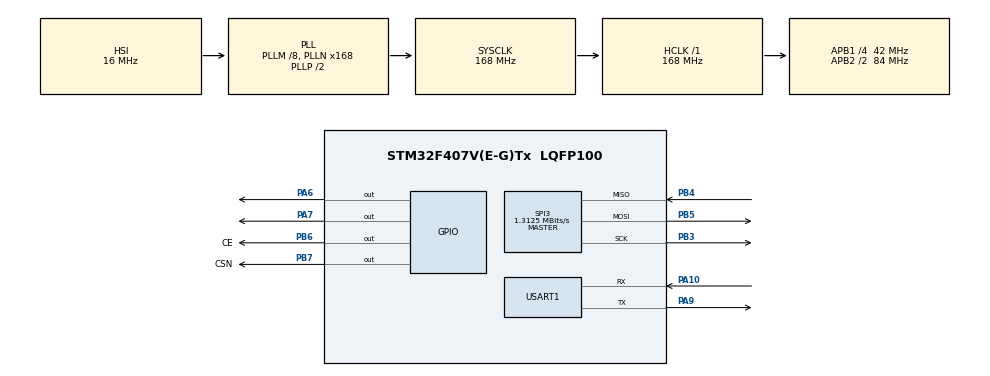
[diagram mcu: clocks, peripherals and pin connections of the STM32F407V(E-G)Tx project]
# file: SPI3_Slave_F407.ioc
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Mcu.Family=STM32F4
Mcu.Name=STM32F407V(E-G)Tx
Mcu.Package=LQFP100
NVIC.PriorityGroup=NVIC_PRIORITYGROUP_4
NVIC.USART1_IRQn=true\:1\:0\:true\:false\:true\:true\:true
PA10.Mode=Asynchronous
PA10.Signal=USART1_RX
PA13.Mode=Serial_Wire
PA13.Signal=SYS_JTMS-SWDIO
PA14.Mode=Serial_Wire
PA14.Signal=SYS_JTCK-SWCLK
PA6.GPIO_Speed=GPIO_SPEED_FREQ_VERY_HIGH
PA6.PinState=GPIO_PIN_SET
PA6.Signal=GPIO_Output
PA7.GPIO_Speed=GPIO_SPEED_FREQ_VERY_HIGH
PA7.PinState=GPIO_PIN_SET
PA7.Signal=GPIO_Output
PA9.Mode=Asynchronous
PA9.Signal=USART1_TX
PB3.Mode=Full_Duplex_Master
PB3.Signal=SPI3_SCK
PB4.Mode=Full_Duplex_Master
PB4.Signal=SPI3_MISO
PB5.Mode=Full_Duplex_Master
PB5.Signal=SPI3_MOSI
PB6.GPIO_Label=CE
PB6.GPIO_Speed=GPIO_SPEED_FREQ_VERY_HIGH
PB6.PinState=GPIO_PIN_SET
PB6.Signal=GPIO_Output
PB7.GPIO_Label=CSN
PB7.GPIO_Speed=GPIO_SPEED_FREQ_VERY_HIGH
PB7.PinState=GPIO_PIN_SET
PB7.Signal=GPIO_Output
PH0-OSC_IN.Mode=HSE-External-Oscillator
PH0-OSC_IN.Signal=RCC_OSC_IN
PH1-OSC_OUT.Mode=HSE-External-Oscillator
PH1-OSC_OUT.Signal=RCC_OSC_OUT
ProjectManager.HeapSize=0x200
ProjectManager.StackSize=0x400
ProjectManager.TargetToolchain=MDK-ARM V5.27
RCC.48MHZClocksFreq_Value=84000000
RCC.AHBFreq_Value=168000000
RCC.APB1CLKDivider=RCC_HCLK_DIV4
RCC.APB1Freq_Value=42000000
RCC.APB1TimFreq_Value=84000000
RCC.APB2CLKDivider=RCC_HCLK_DIV2
RCC.APB2Freq_Value=84000000
RCC.APB2TimFreq_Value=168000000
RCC.CortexFreq_Value=168000000
RCC.HCLKFreq_Value=168000000
RCC.HSE_VALUE=8000000
RCC.HSI_VALUE=16000000
RCC.LSE_VALUE=32768
RCC.PLLM=8
RCC.PLLN=168
RCC.SYSCLKFreq_VALUE=168000000
RCC.SYSCLKSource=RCC_SYSCLKSOURCE_PLLCLK
RCC.VCOOutputFreq_Value=336000000
SPI3.BaudRatePrescaler=SPI_BAUDRATEPRESCALER_32
SPI3.CalculateBaudRate=1.3125 MBits/s
SPI3.Direction=SPI_DIRECTION_2LINES
SPI3.Mode=SPI_MODE_MASTER
SPI3.VirtualType=VM_MASTER
USART1.VirtualMode=VM_ASYNC
board=custom

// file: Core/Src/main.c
/* USER CODE BEGIN Header */
/**
  ******************************************************************************
  * @file           : main.c
  * @brief          : Main program body
  ******************************************************************************
  * @attention
  *
  * <h2><center>&copy; Copyright (c) 2021 STMicroelectronics.
  * All rights reserved.</center></h2>
  *
  * This software component is licensed by ST under BSD 3-Clause license,
  * the "License"; You may not use this file except in compliance with the
  * License. You may obtain a copy of the License at:
  *                        opensource.org/licenses/BSD-3-Clause
  *
  ******************************************************************************
  */
/* USER CODE END Header */
#include "main.h"

/* USER CODE BEGIN Includes */
#include "nrf24.h"
/* USER CODE END Includes */

SPI_HandleTypeDef hspi3;

UART_HandleTypeDef huart1;

void SystemClock_Config(void);
static void MX_GPIO_Init(void);
static void MX_SPI3_Init(void);
static void MX_USART1_UART_Init(void);

/* USER CODE BEGIN 0 */
uint64_t RxpipeAddres = 0x11223344AA;
char MyRxData[40];
/* USER CODE END 0 */

int main(void)
{

  /* MCU Configuration--------------------------------------------------------*/

  /* Reset of all peripherals, Initializes the Flash interface and the Systick. */
  HAL_Init();

  /* Configure the system clock */
  SystemClock_Config();

  /* Initialize all configured peripherals */
  MX_GPIO_Init();
  MX_SPI3_Init();
  MX_USART1_UART_Init();
  /* USER CODE BEGIN 2 */
NRF24_begin(GPIOB, CSN_Pin, CE_Pin, hspi3);
nrf24_DebugUART_Init(huart1);
printRadioSettings();

NRF24_setAutoAck(false);
NRF24_setChannel(52);
NRF24_setPayloadSize(32); // VL
NRF24_setDataRate(RF24_2MBPS);
NRF24_openReadingPipe(1, RxpipeAddres);

NRF24_startListening();
//HAL_GPIO_WritePin(GPIOB, GPIO_PIN_8, GPIO_PIN_RESET);
  /* USER CODE END 2 */

  /* Infinite loop */
  /* USER CODE BEGIN WHILE */
  while (1)
  {
		if(NRF24_available()){
			NRF24_read(MyRxData, 4);
			HAL_UART_Transmit(&huart1, (uint8_t*) MyRxData, 4, 10);
			if(MyRxData[0] == '0')
			{
				HAL_GPIO_WritePin(GPIOA, GPIO_PIN_6, GPIO_PIN_SET);
			} else if(MyRxData[0] == '1') {
				HAL_GPIO_WritePin(GPIOA, GPIO_PIN_6, GPIO_PIN_RESET);
			}
			if(MyRxData[1] == '0')
			{
				HAL_GPIO_WritePin(GPIOA, GPIO_PIN_7, GPIO_PIN_SET);
			} else if(MyRxData[1] == '1') {
				HAL_GPIO_WritePin(GPIOA, GPIO_PIN_7, GPIO_PIN_RESET);
			}
		}
		HAL_Delay(50);
    /* USER CODE END WHILE */

  }
}

void SystemClock_Config(void)
{
  RCC_OscInitTypeDef RCC_OscInitStruct = {0};
  RCC_ClkInitTypeDef RCC_ClkInitStruct = {0};

  /** Configure the main internal regulator output voltage
  */
  __HAL_RCC_PWR_CLK_ENABLE();
  __HAL_PWR_VOLTAGESCALING_CONFIG(PWR_REGULATOR_VOLTAGE_SCALE1);
  /** Initializes the RCC Oscillators according to the specified parameters
  * in the RCC_OscInitTypeDef structure.
  */
  RCC_OscInitStruct.OscillatorType = RCC_OSCILLATORTYPE_HSI;
  RCC_OscInitStruct.HSIState = RCC_HSI_ON;
  RCC_OscInitStruct.HSICalibrationValue = RCC_HSICALIBRATION_DEFAULT;
  RCC_OscInitStruct.PLL.PLLState = RCC_PLL_ON;
  RCC_OscInitStruct.PLL.PLLSource = RCC_PLLSOURCE_HSI;
  RCC_OscInitStruct.PLL.PLLM = 8;
  RCC_OscInitStruct.PLL.PLLN = 168;
  RCC_OscInitStruct.PLL.PLLP = RCC_PLLP_DIV2;
  RCC_OscInitStruct.PLL.PLLQ = 4;
  if (HAL_RCC_OscConfig(&RCC_OscInitStruct) != HAL_OK)
  {
    Error_Handler();
  }
  /** Initializes the CPU, AHB and APB buses clocks
  */
  RCC_ClkInitStruct.ClockType = RCC_CLOCKTYPE_HCLK|RCC_CLOCKTYPE_SYSCLK
                              |RCC_CLOCKTYPE_PCLK1|RCC_CLOCKTYPE_PCLK2;
  RCC_ClkInitStruct.SYSCLKSource = RCC_SYSCLKSOURCE_PLLCLK;
  RCC_ClkInitStruct.AHBCLKDivider = RCC_SYSCLK_DIV1;
  RCC_ClkInitStruct.APB1CLKDivider = RCC_HCLK_DIV4;
  RCC_ClkInitStruct.APB2CLKDivider = RCC_HCLK_DIV2;

  if (HAL_RCC_ClockConfig(&RCC_ClkInitStruct, FLASH_LATENCY_5) != HAL_OK)
  {
    Error_Handler();
  }
}

static void MX_SPI3_Init(void)
{

  /* SPI3 parameter configuration*/
  hspi3.Instance = SPI3;
  hspi3.Init.Mode = SPI_MODE_MASTER;
  hspi3.Init.Direction = SPI_DIRECTION_2LINES;
  hspi3.Init.DataSize = SPI_DATASIZE_8BIT;
  hspi3.Init.CLKPolarity = SPI_POLARITY_LOW;
  hspi3.Init.CLKPhase = SPI_PHASE_1EDGE;
  hspi3.Init.NSS = SPI_NSS_SOFT;
  hspi3.Init.BaudRatePrescaler = SPI_BAUDRATEPRESCALER_32;
  hspi3.Init.FirstBit = SPI_FIRSTBIT_MSB;
  hspi3.Init.TIMode = SPI_TIMODE_DISABLE;
  hspi3.Init.CRCCalculation = SPI_CRCCALCULATION_DISABLE;
  hspi3.Init.CRCPolynomial = 10;
  if (HAL_SPI_Init(&hspi3) != HAL_OK)
  {
    Error_Handler();
  }

}

static void MX_USART1_UART_Init(void)
{

  huart1.Instance = USART1;
  huart1.Init.BaudRate = 115200;
  huart1.Init.WordLength = UART_WORDLENGTH_8B;
  huart1.Init.StopBits = UART_STOPBITS_1;
  huart1.Init.Parity = UART_PARITY_NONE;
  huart1.Init.Mode = UART_MODE_TX_RX;
  huart1.Init.HwFlowCtl = UART_HWCONTROL_NONE;
  huart1.Init.OverSampling = UART_OVERSAMPLING_16;
  if (HAL_UART_Init(&huart1) != HAL_OK)
  {
    Error_Handler();
  }

}

static void MX_GPIO_Init(void)
{
  GPIO_InitTypeDef GPIO_InitStruct = {0};

  /* GPIO Ports Clock Enable */
  __HAL_RCC_GPIOH_CLK_ENABLE();
  __HAL_RCC_GPIOA_CLK_ENABLE();
  __HAL_RCC_GPIOB_CLK_ENABLE();

  /*Configure GPIO pin Output Level */
  HAL_GPIO_WritePin(GPIOA, GPIO_PIN_6|GPIO_PIN_7, GPIO_PIN_SET);

  /*Configure GPIO pin Output Level */
  HAL_GPIO_WritePin(GPIOB, CE_Pin|CSN_Pin, GPIO_PIN_SET);

  /*Configure GPIO pins : PA6 PA7 */
  GPIO_InitStruct.Pin = GPIO_PIN_6|GPIO_PIN_7;
  GPIO_InitStruct.Mode = GPIO_MODE_OUTPUT_PP;
  GPIO_InitStruct.Pull = GPIO_NOPULL;
  GPIO_InitStruct.Speed = GPIO_SPEED_FREQ_VERY_HIGH;
  HAL_GPIO_Init(GPIOA, &GPIO_InitStruct);

  /*Configure GPIO pins : CE_Pin CSN_Pin */
  GPIO_InitStruct.Pin = CE_Pin|CSN_Pin;
  GPIO_InitStruct.Mode = GPIO_MODE_OUTPUT_PP;
  GPIO_InitStruct.Pull = GPIO_NOPULL;
  GPIO_InitStruct.Speed = GPIO_SPEED_FREQ_VERY_HIGH;
  HAL_GPIO_Init(GPIOB, &GPIO_InitStruct);

}

void Error_Handler(void)
{
  __disable_irq();
  while (1)
  {
  }
}

/************************ (C) COPYRIGHT STMicroelectronics *****END OF FILE****/
